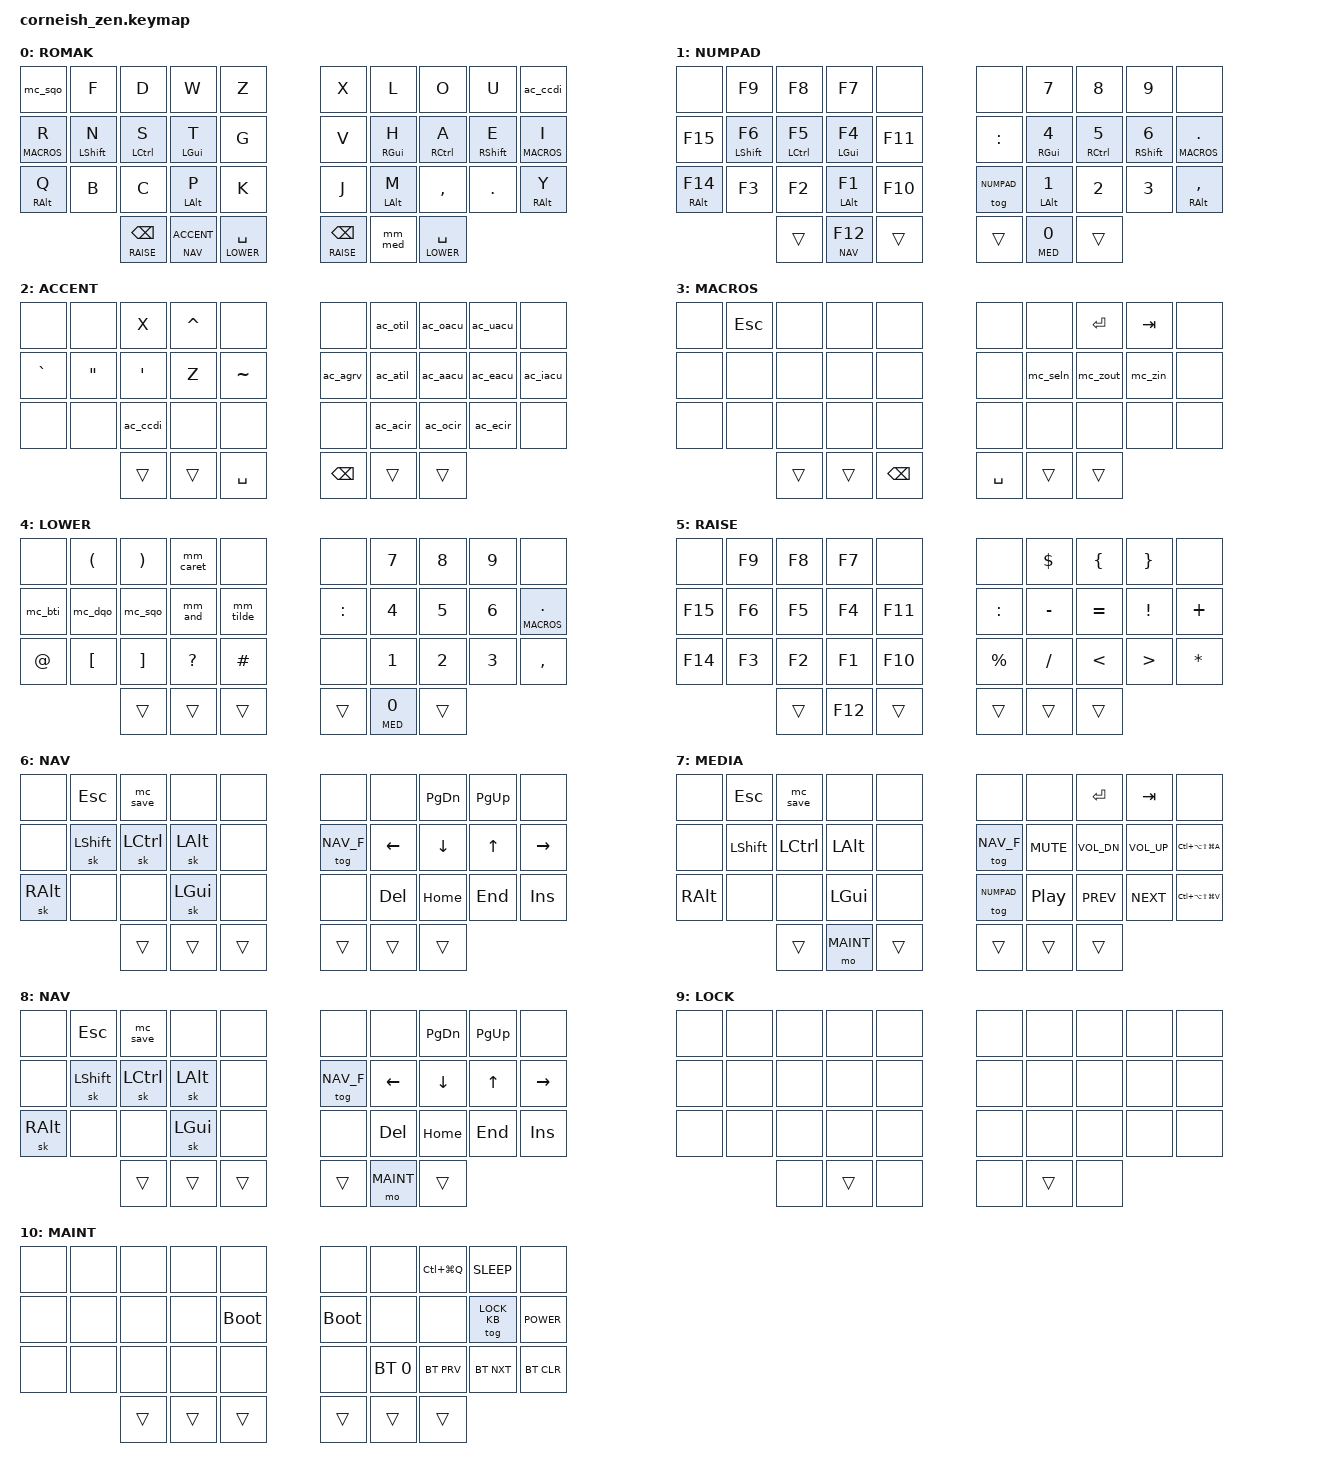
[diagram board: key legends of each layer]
/*
*
* Copyright (c) 2022 Rafael Romão
* SPDX-License-Identifier: MIT
*
*/

#include "features/accents.dtsi"
#include <behaviors.dtsi>
#include <dt-bindings/zmk/keys.h>
#include <dt-bindings/zmk/bt.h>

/ {
  chosen {
    zmk,matrix_transform = &five_column_transform;
  };
};

#define ROMAK 0
#define NUMPAD 1
#define ACCENT 2
#define MACROS 3
#define LOWER 4
#define RAISE 5
#define NAV_F 6
#define MED 7
#define NAV 8
#define LOCK_KB 9
#define MAINT 10

&mt {
    tapping-term-ms = <175>;
    flavor = "tap-preferred";
    quick-tap-ms = <125>;
    global-quick-tap;
};

&lt {
    tapping-term-ms = <175>;
    flavor = "tap-preferred";
    quick-tap-ms = <125>;
    global-quick-tap;
    retro-tap;
};

&sl {
    release-after-ms = <2000>;
    quick-release;
};

&sk {
    release-after-ms = <2000>;
    quick-release;
};

/ {
    behaviors {
        hm: homerow-mods {
            compatible = "zmk,behavior-hold-tap";
            label = "homehow-mods";
            #binding-cells = <2>;
            tapping-term-ms = <175>;
            flavor = "tap-preferred";
            quick-tap-ms = <125>;
            global-quick-tap;
            retro-tap;
            bindings = <&kp>, <&kp>;
        };
        msl: layer-tap-with-stick-layer {
            compatible = "zmk,behavior-hold-tap";
            label = "layer-tap-with-stick-layer";
            #binding-cells = <2>;
            tapping-term-ms = <175>;
            flavor = "tap-preferred";
            quick-tap-ms = <125>;
            bindings = <&mo>, <&sl>;
        };
        msk: layer-tap-with-stick-key {
            compatible = "zmk,behavior-hold-tap";
            label = "layer-tap-with-stick-key";
            #binding-cells = <2>;
            tapping-term-ms = <175>;
            flavor = "tap-preferred";
            quick-tap-ms = <125>;
            bindings = <&mo>, <&sk>;
        };
    };
};

/ {
    macros {
        mc_copy: mc_copy {
            label = "Copy";
            compatible = "zmk,behavior-macro";
            #binding-cells = <0>;
            bindings
                = <&macro_press &kp LCMD>
                , <&macro_tap &kp C>
                , <&macro_release &kp LCMD>
                ;
        };
        mc_paste: mc_paste {
            label = "Paste";
            compatible = "zmk,behavior-macro";
            #binding-cells = <0>;
            bindings
                = <&macro_press &kp LCMD>
                , <&macro_tap &kp V>
                , <&macro_release &kp LCMD>
                ;
        };
        mc_save: mc_save {
            label = "Save";
            compatible = "zmk,behavior-macro";
            #binding-cells = <0>;
            bindings
                = <&macro_press &kp LCMD>
                , <&macro_tap &kp S>
                , <&macro_release &kp LCMD>
                ;
        };
        mc_save_esc: mc_save_esc {
            label = "Save + Esc";
            compatible = "zmk,behavior-macro";
            #binding-cells = <0>;
            bindings
                = <&macro_press &kp LCMD>
                , <&macro_tap &kp S>
                , <&macro_release &kp LCMD>
                , <&macro_tap &kp ESC>
                ;
        };
        mc_seln: mc_seln {
            label = "Select Line";
            compatible = "zmk,behavior-macro";
            #binding-cells = <0>;
            bindings
                = <&macro_tap &kp HOME>
                , <&macro_press &kp LSHFT>
                , <&macro_tap &kp END>
                , <&macro_release &kp LSHFT>
                ;
        };
        mc_zout: mc_zout {
            label = "Zoom Out";
            compatible = "zmk,behavior-macro";
            #binding-cells = <0>;
            bindings
                = <&macro_press &kp LGUI>
                , <&macro_tap &kp MINUS>
                , <&macro_release &kp LGUI>
                ;
        };
        mc_zin: mc_zin {
            label = "Zoom In";
            compatible = "zmk,behavior-macro";
            #binding-cells = <0>;
            bindings
                = <&macro_press &kp LGUI>
                , <&macro_tap &kp PLUS>
                , <&macro_release &kp LGUI>
                ;
        };
    };
};

/ {
    symbols {
        mc_bti: mc_bti {
            wait-ms = <0>;
            tap-ms = <0>;
            label = "`";
            compatible = "zmk,behavior-macro";
            #binding-cells = <0>;
            bindings = <&macro_tap &kp SQT &kp SPACE>;
        };
        mc_dqo: mc_dqo {
            wait-ms = <0>;
            tap-ms = <0>;
            label = "quot";
            compatible = "zmk,behavior-macro";
            #binding-cells = <0>;
            bindings = <&macro_tap &kp DQT &kp SPACE>;
        };
        mc_sqo: mc_sqo {
            wait-ms = <0>;
            tap-ms = <0>;
            label = "'";
            compatible = "zmk,behavior-macro";
            #binding-cells = <0>;
            bindings = <&macro_tap &kp SINGLE_QUOTE &kp SPACE>;
        };
        mc_tilde: mc_tilde {
            wait-ms = <0>;
            tap-ms = <0>;
            label = "~";
            compatible = "zmk,behavior-macro";
            #binding-cells = <0>;
            bindings = <&macro_tap &kp TILDE &kp SPACE>;
        };
        mc_caret: mc_caret {
            wait-ms = <0>;
            tap-ms = <0>;
            label = "^";
            compatible = "zmk,behavior-macro";
            #binding-cells = <0>;
            bindings = <&macro_tap &kp CARET &kp SPACE>;
        };
        mm_tilde: mm_tilde {
            label = "Dead ~";
            compatible = "zmk,behavior-mod-morph";
            #binding-cells = <0>;
            bindings = <&mc_tilde>, <&kp TILDE>;
            mods = <(MOD_LSFT|MOD_RSFT)>;
        };
        mm_caret: mm_caret {
            label = "Dead ^";
            compatible = "zmk,behavior-mod-morph";
            #binding-cells = <0>;
            bindings = <&mc_caret>, <&kp CARET>;
            mods = <(MOD_LSFT|MOD_RSFT)>;
        };
        mc_slash: mc_slash {
            wait-ms = <0>;
            tap-ms = <0>;
            label = "Slash";
            compatible = "zmk,behavior-macro";
            #binding-cells = <0>;
            bindings = <&macro_tap &kp SLASH>;
        };
        mc_backslash: mc_backslash {
            wait-ms = <0>;
            tap-ms = <0>;
            label = "Backslash";
            compatible = "zmk,behavior-macro";
            #binding-cells = <0>;
            bindings = <&macro_tap &kp BACKSLASH>;
        };
        mc_and: mc_and {
            wait-ms = <0>;
            tap-ms = <0>;
            label = "&&";
            compatible = "zmk,behavior-macro";
            #binding-cells = <0>;
            bindings = <&macro_tap &kp AMPS &kp AMPS>;
        };
        mm_and: mm_and {
            label = "&";
            compatible = "zmk,behavior-mod-morph";
            #binding-cells = <0>;
            bindings = <&mc_and>, <&kp AMPS>;
            mods = <(MOD_LSFT|MOD_RSFT)>;
        };
        mc_or: mc_or {
            wait-ms = <0>;
            tap-ms = <0>;
            label = "||";
            compatible = "zmk,behavior-macro";
            #binding-cells = <0>;
            bindings = <&macro_tap &kp PIPE &kp PIPE>;
        };
        mm_or: mm_or {
            label = "|";
            compatible = "zmk,behavior-mod-morph";
            #binding-cells = <0>;
            bindings = <&mc_or>, <&kp PIPE>;
            mods = <(MOD_LSFT|MOD_RSFT)>;
        };
        mm_med: mm_med {
            label = "MED SHIFT CAPSWORD";
            compatible = "zmk,behavior-mod-morph";
            #binding-cells = <0>;
            bindings = <&msk MED LSHFT>, <&caps_word>;
            mods = <(MOD_LCTL|MOD_RCTL)>;
        };
    };
};

/ {
    combos {
        compatible = "zmk,combos";
        combo_enter {
            timeout-ms = <50>;
            layers = <ROMAK NUMPAD>;
            key-positions = <17 18 33>;
            bindings = <&kp ENTER>;
        };
        combo_tab {
            timeout-ms = <50>;
            layers = <ROMAK NUMPAD>;
            key-positions = <7 8 33>;
            bindings = <&kp TAB>;
        };
        combo_esc {
            timeout-ms = <50>;
            layers = <ROMAK NUMPAD>;
            key-positions = <1 2 32>;
            bindings = <&kp ESC>;
        };
        combo_save {
            timeout-ms = <50>;
            layers = <ROMAK NUMPAD>;
            key-positions = <11 12 32>;
            bindings = <&mc_save>;
        };
        combo_esc_save {
            timeout-ms = <50>;
            layers = <NAV>;
            key-positions = <1 2>;
            bindings = <&mc_save_esc>;
        };
        combo_unds {
            timeout-ms = <50>;
            layers = <ROMAK>;
            key-positions = <21 22>;

            bindings = <&kp UNDERSCORE>;
        };
        combo_semicolon {
            timeout-ms = <50>;
            layers = <ROMAK>;
            key-positions = <27 28>;
            bindings = <&kp SEMICOLON>;
        };
        combo_x {
            timeout-ms = <50>;
            layers = <ROMAK>;
            key-positions = <26 27>;
            bindings = <&kp X>;
        };
        combo_z {
            timeout-ms = <50>;
            layers = <ROMAK>;
            key-positions = <22 23>;
            bindings = <&kp Z>;
        };
        combo_copy_l {
            timeout-ms = <50>;
            layers = <ROMAK>;
            key-positions = <22 23 32>;
            bindings = <&mc_copy>;
        };
        combo_paste_l {
            timeout-ms = <50>;
            layers = <ROMAK>;
            key-positions = <12 13 32>;
            bindings = <&mc_paste>;
        };
        combo_copy_r {
            timeout-ms = <50>;
            layers = <ROMAK>;
            key-positions = <26 27 33>;
            bindings = <&mc_copy>;
        };
        combo_paste_r {
            timeout-ms = <50>;
            layers = <ROMAK>;
            key-positions = <16 17 33>;
            bindings = <&mc_paste>;
        };
    };
};

/ {
        keymap {
                compatible = "zmk,keymap";
                default_layer {
                        label = "ROMAK";
                        bindings = <
   &mc_sqo         &kp F           &kp D           &kp W           &kp Z           &kp X           &kp L           &kp O           &kp U           &ac_ccdi   
   &lt MACROS R    &hm LSHFT N     &hm LCTRL S     &hm LGUI T      &kp G           &kp V           &hm RGUI H      &hm RCTRL A     &hm RSHFT E     &lt MACROS I 
   &hm RALT Q      &kp B           &kp C           &hm LALT P      &kp K           &kp J           &hm LALT M      &kp COMMA       &kp DOT         &hm RALT Y
                                   &lt RAISE BSPC  &msl NAV ACCENT &lt LOWER SPACE &lt RAISE BSPC  &mm_med         &lt LOWER SPACE
                        >;
                };
                numpad_layer {
                        label = "NUMPAD";
                        bindings = <
   &none           &kp F9          &kp F8          &kp F7          &none           &none           &kp N7          &kp N8          &kp N9          &none    
   &kp F15         &hm LSHFT F6    &hm LCTRL F5    &hm LGUI F4     &kp F11         &kp COLON       &hm RGUI N4     &hm RCTRL N5    &hm RSHFT N6    &lt MACROS DOT 
   &hm RALT F14    &kp F3          &kp F2          &hm LALT F1     &kp F10         &tog NUMPAD     &hm LALT N1     &kp N2          &kp N3          &hm RALT COMMA
                                   &trans          &msl NAV F12    &trans          &trans          &msk MED N0     &trans
                        >;
                };
                accents_layer {
                        label = "ACCENT";
                        bindings = <
   &none           &none           &kp X           &kp CARET       &none           &none           &ac_otil        &ac_oacu        &ac_uacu        &none    
   &kp GRAVE       &kp DQT         &kp SQT         &kp Z           &kp TILDE       &ac_agrv        &ac_atil        &ac_aacu        &ac_eacu        &ac_iacu 
   &none           &none           &ac_ccdi        &none           &none           &none           &ac_acir        &ac_ocir        &ac_ecir        &none
                                   &trans          &trans          &kp SPACE       &kp BSPC        &trans          &trans
                        >;
                };
                macros_layer {
                        label = "MACROS";
                        bindings = <
   &none           &kp ESC         &none           &none           &none           &none           &none         &kp ENTER       &kp TAB       &none    
   &none           &none           &none           &none           &none           &none           &mc_seln      &mc_zout        &mc_zin       &none  
   &none           &none           &none           &none           &none           &none           &none         &none           &none         &none 
                                   &trans          &trans          &kp BSPC        &kp SPACE       &trans        &trans
                        >;
                };
                lower_layer {
                        label = "LOWER";
                        bindings = <
   &none           &kp LPAR        &kp RPAR        &mm_caret       &none           &none           &kp N7        &kp N8          &kp N9        &none    
   &mc_bti         &mc_dqo         &mc_sqo         &mm_and         &mm_tilde       &kp COLON       &kp N4        &kp N5          &kp N6        &lt MACROS DOT  
   &kp AT          &kp LBKT        &kp RBKT        &kp QMARK       &kp HASH        &none           &kp N1        &kp N2          &kp N3        &kp COMMA 
                                   &trans          &trans          &trans          &trans          &msk MED N0   &trans
                        >;
                };
                raise_layer {
                        label = "RAISE";
                        bindings = <
   &none           &kp F9          &kp F8          &kp F7          &none           &none           &kp DOLLAR    &kp LBRC        &kp RBRC      &none    
   &kp F15         &kp F6          &kp F5          &kp F4          &kp F11         &kp COLON       &kp MINUS     &kp EQUAL       &kp EXCL      &kp PLUS  
   &kp F14         &kp F3          &kp F2          &kp F1          &kp F10         &kp PERCENT     &kp SLASH     &kp LT          &kp GT        &kp STAR
                                   &trans          &kp F12         &trans          &trans          &trans        &trans
                        >;
                };
                fixed_navigation_layer {
                        label = "NAV";
                        bindings = <
   &none           &kp ESC         &mc_save        &none           &none           &none           &none         &kp PAGE_DOWN   &kp PAGE_UP   &none    
   &none           &sk LSHIFT      &sk LCTRL       &sk LALT        &none           &tog NAV_F      &kp LEFT      &kp DOWN        &kp UP        &kp RIGHT
   &sk RALT        &none           &none           &sk LGUI        &none           &none           &kp DEL       &kp HOME        &kp END       &kp INS
                                   &trans          &trans          &trans          &trans          &trans        &trans
                        >;
                };
                media_layer {
                        label = "MEDIA";
                        bindings = <
   &none           &kp ESC         &mc_save        &none           &none           &none           &none         &kp ENTER       &kp TAB       &none    
   &none           &kp LSHIFT      &kp LCTRL       &kp LALT        &none           &tog NAV_F      &kp C_MUTE    &kp C_VOL_DN    &kp C_VOL_UP  &kp LC(LA(LS(LG(A))))
   &kp RALT        &none           &none           &kp LGUI        &none           &tog NUMPAD     &kp C_PP      &kp C_PREV      &kp C_NEXT    &kp LC(LA(LS(LG(V))))
                                   &trans          &mo MAINT       &trans          &trans          &trans        &trans
                        >;
                };
                navigation_layer {
                        label = "NAV";
                        bindings = <
   &none           &kp ESC         &mc_save        &none           &none           &none           &none         &kp PAGE_DOWN   &kp PAGE_UP   &none    
   &none           &sk LSHIFT      &sk LCTRL       &sk LALT        &none           &tog NAV_F      &kp LEFT      &kp DOWN        &kp UP        &kp RIGHT
   &sk RALT        &none           &none           &sk LGUI        &none           &none           &kp DEL       &kp HOME        &kp END       &kp INS
                                   &trans          &trans          &trans          &trans          &mo MAINT     &trans
                        >;
                };
                lock_layer {
                        label = "LOCK";
                        bindings = <
   &none           &none           &none           &none           &none           &none           &none         &none           &none         &none    
   &none           &none           &none           &none           &none           &none           &none         &none           &none         &none  
   &none           &none           &none           &none           &none           &none           &none         &none           &none         &none 
                                   &none           &trans          &none           &none           &trans        &none
                        >;
                };
                maintenance_layer {
                        label = "MAINT";
                        bindings = <
   &none           &none           &none           &none           &none           &none           &none         &kp LC(LG(Q))   &kp C_SLEEP   &none    
   &none           &none           &none           &none           &bootloader     &bootloader     &none         &none           &tog LOCK_KB  &kp C_POWER  
   &none           &none           &none           &none           &none           &none           &bt BT_SEL 0  &bt BT_PRV      &bt BT_NXT    &bt BT_CLR 
                                   &trans          &trans          &trans          &trans          &trans        &trans
                        >;
                };
        };
};
